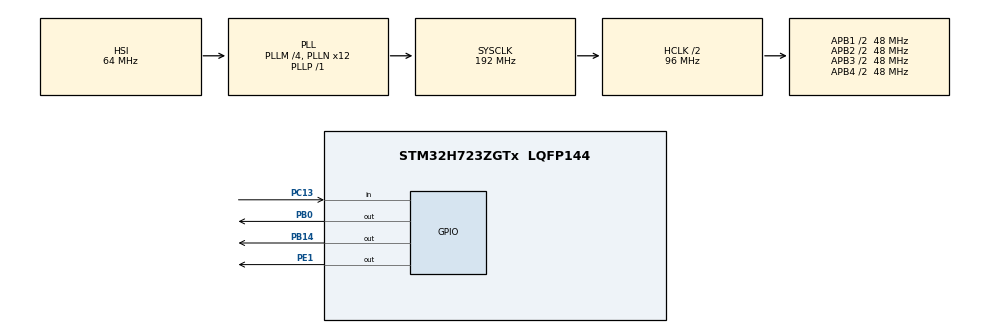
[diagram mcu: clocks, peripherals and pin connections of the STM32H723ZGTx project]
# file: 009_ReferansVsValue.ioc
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CORTEX_M7.default_mode_Activation=1
Mcu.Family=STM32H7
Mcu.Name=STM32H723ZGTx
Mcu.Package=LQFP144
NUCLEO-H723ZG.BUTTON=1
NUCLEO-H723ZG.LD1=true
NUCLEO-H723ZG.LD2=true
NUCLEO-H723ZG.LD3=true
NUCLEO-H723ZG.VCP=true
NVIC.EXTI15_10_IRQn=true\:0\:0\:false\:false\:true\:false\:true\:true
NVIC.PriorityGroup=NVIC_PRIORITYGROUP_4
PA13(JTMS/SWDIO).GPIO_Label=SWDIO
PA13(JTMS/SWDIO).Signal=DEBUG_JTMS-SWDIO
PA14(JTCK/SWCLK).GPIO_Label=SWCLK
PA14(JTCK/SWCLK).Signal=DEBUG_JTCK-SWCLK
PB0.Signal=GPIO_Output
PB14.Signal=GPIO_Output
PC13.Signal=GPIO_Input
PC14-OSC32_IN.Signal=RCC_OSC32_IN
PC15-OSC32_OUT.Signal=RCC_OSC32_OUT
PD8.Signal=USART3_TX
PD9.Signal=USART3_RX
PE1.Signal=GPIO_Output
ProjectManager.HeapSize=0x200
ProjectManager.StackSize=0x400
ProjectManager.TargetToolchain=STM32CubeIDE
RCC.ADCFreq_Value=608000000
RCC.APB1Freq_Value=48000000
RCC.APB2Freq_Value=48000000
RCC.APB3Freq_Value=48000000
RCC.APB4Freq_Value=48000000
RCC.CortexFreq_Value=192000000
RCC.D1PPRE=RCC_APB3_DIV2
RCC.D2PPRE1=RCC_APB1_DIV2
RCC.D2PPRE2=RCC_APB2_DIV2
RCC.D3PPRE=RCC_APB4_DIV2
RCC.DIVM1=4
RCC.DIVM2=1
RCC.DIVN1=12
RCC.DIVN2=19
RCC.DIVP1=1
RCC.DIVQ1=4
RCC.HCLKFreq_Value=96000000
RCC.HPRE=RCC_HCLK_DIV2
RCC.HSE_VALUE=8000000
RCC.PLLFRACN=0
RCC.SYSCLKFreq_VALUE=192000000
RCC.SYSCLKSource=RCC_SYSCLKSOURCE_PLLCLK
RCC.USBCLockSelection=RCC_USBCLKSOURCE_HSI48
RCC.USBFreq_Value=48000000
VP_MEMORYMAP_VS_MEMORYMAP.Mode=CurAppReg
VP_NUCLEO-H723ZG_VS_BSP_COMMON.Mode=COMMON
board=NUCLEO-H723ZG

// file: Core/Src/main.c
/* USER CODE BEGIN Header */
/**
  ******************************************************************************
  * @file           : main.c
  * @brief          : Main program body
  ******************************************************************************
  * @attention
  *
  * Copyright (c) 2025 STMicroelectronics.
  * All rights reserved.
  *
  * This software is licensed under terms that can be found in the LICENSE file
  * in the root directory of this software component.
  * If no LICENSE file comes with this software, it is provided AS-IS.
  *
  ******************************************************************************
  */
/* USER CODE END Header */
#include "main.h"

COM_InitTypeDef BspCOMInit;

void SystemClock_Config(void);
static void MPU_Config(void);
static void MX_GPIO_Init(void);

/* USER CODE BEGIN 0 */

//#define TEST1
#define TEST2
void benchmarkTimerInit();
void test(void);
__STATIC_FORCEINLINE uint32_t benchmark_GetCycleCount(void);

void benchmarkTimerInit(){

    CoreDebug->DEMCR |= CoreDebug_DEMCR_TRCENA_Msk;
    DWT->CYCCNT = 0;
    DWT->CTRL |= DWT_CTRL_CYCCNTENA_Msk;

}

 __STATIC_FORCEINLINE uint32_t benchmark_GetCycleCount(void){

    return DWT->CYCCNT;
}

 volatile int a = 5, b = 7;
 volatile int *pa = &a;
 volatile int *pb = &b;
 volatile uint32_t result1 = 0, result2 = 0;
#define N 100000
uint8_t arr[N];
 const int loop_count = N;

/* USER CODE END 0 */

int main(void)
{

  /* MPU Configuration--------------------------------------------------------*/
  MPU_Config();

  /* MCU Configuration--------------------------------------------------------*/

  /* Reset of all peripherals, Initializes the Flash interface and the Systick. */
  HAL_Init();

  /* Configure the system clock */
  SystemClock_Config();

  /* Initialize all configured peripherals */
  MX_GPIO_Init();
  /* USER CODE BEGIN 2 */
  benchmarkTimerInit();
  /* USER CODE END 2 */

  /* Initialize leds */
  BSP_LED_Init(LED_GREEN);
  BSP_LED_Init(LED_YELLOW);
  BSP_LED_Init(LED_RED);

  /* Initialize USER push-button, will be used to trigger an interrupt each time it's pressed.*/
  BSP_PB_Init(BUTTON_USER, BUTTON_MODE_EXTI);

  /* Initialize COM1 port (115200, 8 bits (7-bit data + 1 stop bit), no parity */
  BspCOMInit.BaudRate   = 115200;
  BspCOMInit.WordLength = COM_WORDLENGTH_8B;
  BspCOMInit.StopBits   = COM_STOPBITS_1;
  BspCOMInit.Parity     = COM_PARITY_NONE;
  BspCOMInit.HwFlowCtl  = COM_HWCONTROL_NONE;
  if (BSP_COM_Init(COM1, &BspCOMInit) != BSP_ERROR_NONE)
  {
    Error_Handler();
  }

  /* Infinite loop */
  while (1)
  {

    /* USER CODE BEGIN 3 */

	  test();

	  HAL_Delay(1000);
  }
  /* USER CODE END 3 */
}

void SystemClock_Config(void)
{
  RCC_OscInitTypeDef RCC_OscInitStruct = {0};
  RCC_ClkInitTypeDef RCC_ClkInitStruct = {0};

  /** Supply configuration update enable
  */
  HAL_PWREx_ConfigSupply(PWR_LDO_SUPPLY);

  /** Configure the main internal regulator output voltage
  */
  __HAL_PWR_VOLTAGESCALING_CONFIG(PWR_REGULATOR_VOLTAGE_SCALE2);

  while(!__HAL_PWR_GET_FLAG(PWR_FLAG_VOSRDY)) {}

  /** Initializes the RCC Oscillators according to the specified parameters
  * in the RCC_OscInitTypeDef structure.
  */
  RCC_OscInitStruct.OscillatorType = RCC_OSCILLATORTYPE_HSI;
  RCC_OscInitStruct.HSIState = RCC_HSI_DIV1;
  RCC_OscInitStruct.HSICalibrationValue = 64;
  RCC_OscInitStruct.PLL.PLLState = RCC_PLL_ON;
  RCC_OscInitStruct.PLL.PLLSource = RCC_PLLSOURCE_HSI;
  RCC_OscInitStruct.PLL.PLLM = 4;
  RCC_OscInitStruct.PLL.PLLN = 12;
  RCC_OscInitStruct.PLL.PLLP = 1;
  RCC_OscInitStruct.PLL.PLLQ = 4;
  RCC_OscInitStruct.PLL.PLLR = 2;
  RCC_OscInitStruct.PLL.PLLRGE = RCC_PLL1VCIRANGE_3;
  RCC_OscInitStruct.PLL.PLLVCOSEL = RCC_PLL1VCOWIDE;
  RCC_OscInitStruct.PLL.PLLFRACN = 0;
  if (HAL_RCC_OscConfig(&RCC_OscInitStruct) != HAL_OK)
  {
    Error_Handler();
  }

  /** Initializes the CPU, AHB and APB buses clocks
  */
  RCC_ClkInitStruct.ClockType = RCC_CLOCKTYPE_HCLK|RCC_CLOCKTYPE_SYSCLK
                              |RCC_CLOCKTYPE_PCLK1|RCC_CLOCKTYPE_PCLK2
                              |RCC_CLOCKTYPE_D3PCLK1|RCC_CLOCKTYPE_D1PCLK1;
  RCC_ClkInitStruct.SYSCLKSource = RCC_SYSCLKSOURCE_PLLCLK;
  RCC_ClkInitStruct.SYSCLKDivider = RCC_SYSCLK_DIV1;
  RCC_ClkInitStruct.AHBCLKDivider = RCC_HCLK_DIV2;
  RCC_ClkInitStruct.APB3CLKDivider = RCC_APB3_DIV2;
  RCC_ClkInitStruct.APB1CLKDivider = RCC_APB1_DIV2;
  RCC_ClkInitStruct.APB2CLKDivider = RCC_APB2_DIV2;
  RCC_ClkInitStruct.APB4CLKDivider = RCC_APB4_DIV2;

  if (HAL_RCC_ClockConfig(&RCC_ClkInitStruct, FLASH_LATENCY_1) != HAL_OK)
  {
    Error_Handler();
  }
}

static void MX_GPIO_Init(void)
{

  /* GPIO Ports Clock Enable */
  __HAL_RCC_GPIOC_CLK_ENABLE();
  __HAL_RCC_GPIOA_CLK_ENABLE();

}

/* USER CODE BEGIN 4 */
uint32_t cycles_value = 0;
uint32_t cycles_Reference  = 0;
void test(void){

	   __DSB();
	   __ISB();
	   __DMB();
	  benchmarkTimerInit();
	  uint32_t start_f = benchmark_GetCycleCount();
	  // Normal erişim
	  for (int i = 0; i < loop_count; i++)
	      arr[i] = 0;

	  uint32_t end_f = benchmark_GetCycleCount();
	   cycles_value = end_f - start_f;

	   __DSB();
	   __ISB();
	   __DMB();
	  benchmarkTimerInit();
	  uint32_t start_q = benchmark_GetCycleCount();
	  uint8_t *p = arr;
	  for (int i = 0; i < loop_count; i++)
	      *p++ = 0;
	  uint32_t end_q = benchmark_GetCycleCount();
	   cycles_Reference = end_q - start_q;

	  printf("\033[H\033[J");  // Ekranı temizle (home + clear)
	  printf("\r\n=== STM32 Pointer vs Normal Access Test ===\r\n");
	  printf("Loop Count: %d\r\n", loop_count);
	  printf("Normal variable sum cycles : %lu\r\n", cycles_value);
	  printf("Pointer access sum cycles   : %lu\r\n", cycles_Reference);
	  printf("Result1 = %lu, Result2 = %lu\r\n", result1, result2);
	  printf("Cycle difference = %ld\r\n", (long)(cycles_Reference - cycles_value));
}
/* USER CODE END 4 */

 /* MPU Configuration */

void MPU_Config(void)
{
  MPU_Region_InitTypeDef MPU_InitStruct = {0};

  /* Disables the MPU */
  HAL_MPU_Disable();

  /** Initializes and configures the Region and the memory to be protected
  */
  MPU_InitStruct.Enable = MPU_REGION_ENABLE;
  MPU_InitStruct.Number = MPU_REGION_NUMBER0;
  MPU_InitStruct.BaseAddress = 0x0;
  MPU_InitStruct.Size = MPU_REGION_SIZE_4GB;
  MPU_InitStruct.SubRegionDisable = 0x87;
  MPU_InitStruct.TypeExtField = MPU_TEX_LEVEL0;
  MPU_InitStruct.AccessPermission = MPU_REGION_NO_ACCESS;
  MPU_InitStruct.DisableExec = MPU_INSTRUCTION_ACCESS_DISABLE;
  MPU_InitStruct.IsShareable = MPU_ACCESS_SHAREABLE;
  MPU_InitStruct.IsCacheable = MPU_ACCESS_NOT_CACHEABLE;
  MPU_InitStruct.IsBufferable = MPU_ACCESS_NOT_BUFFERABLE;

  HAL_MPU_ConfigRegion(&MPU_InitStruct);
  /* Enables the MPU */
  HAL_MPU_Enable(MPU_PRIVILEGED_DEFAULT);

}

void Error_Handler(void)
{
  __disable_irq();
  while (1)
  {
  }
}
